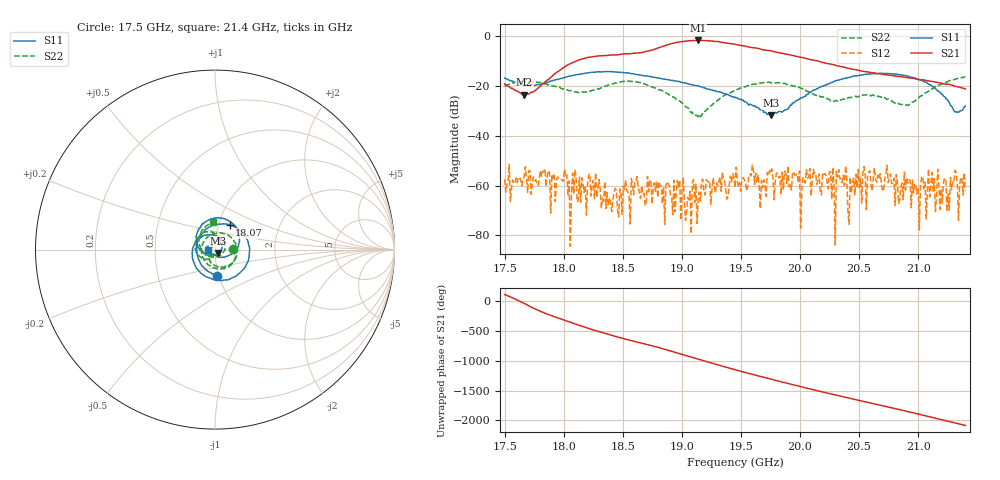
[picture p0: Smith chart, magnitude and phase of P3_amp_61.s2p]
!Created with skrf (http://scikit-rf.org).
# GHz S RI R 50.0
!freq ReS11 ImS11 ReS21 ImS21 ReS12 ImS12 ReS22 ImS22
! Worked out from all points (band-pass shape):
!   401 points, 17.5 GHz to 21.4 GHz, reference 50 ohm
!   highest |S21| = -1.70 dB at 19.14 GHz (marker M1); lowest = -23.4 dB at 17.67 GHz (marker M2)
!   |S21| within 3 dB of the highest: 18.8 GHz to 19.62 GHz (827.3 MHz wide, 4.31 % of centre)
!   lowest |S11| = -31.8 dB at 19.75 GHz (marker M3), VSWR 1.05, Z = 51.7 - j1.97 ohm
!   |S11| at or under -10 dB: start of sweep to end of sweep
!   |S22| runs from -32.4 to -16.2 dB; largest |S21 - S12| = 0.82
!   S11 on the Smith chart (normalised r, x): 17.5 GHz: 0.98, -0.29; 18.07 GHz: 1.13, +0.32; 21.4 GHz: 0.92, -0.00
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17.5  0.00922 -0.1444  -0.0351 0.1041  -0.00124 -0.000493  0.0993 0.00119
17.66575  -0.093 -0.0468  0.0521 -0.0425  0.000347 0.00146  0.1062 -0.0634
18.007  0.038 0.1425  0.1899 0.1486  0.000635 0.00204  -0.0533 -0.0662
18.0655  0.0814 0.1386  0.2872 -0.0147  0.00038 0.00049  -0.0726 -0.0365
18.15325  0.1418 0.1043  0.1652 -0.3065  0.000917 -0.0011  -0.0734 0.0191
18.3385  0.19 -0.0389  -0.407 -0.0181  0.000305 -0.000378  0.0285 0.0931
18.514  0.0978 -0.1567  0.0285 0.4421  0.000557 -0.000597  0.124 0.0012
18.8065  -0.1059 -0.0984  0.2925 -0.5168  -0.000872 -0.000837  -0.00778 -0.083
18.904  -0.1252 -0.0332  -0.2948 -0.6379  0.000329 -0.000534  -0.0322 -0.0571
19.0015  -0.1159 0.0263  -0.777 -0.1011  -0.0005 0.000587  -0.0333 -0.032
19.138  -0.0633 0.0783  -0.2274 0.7903  -0.000228 0.000473  -0.0131 -0.0202
19.294  0.000832 0.0777  0.7564 0.2143  0.00052 0.001  -0.0209 -0.0442
19.45  0.0356 0.0484  0.2191 -0.6538  0.000912 4.04e-05  -0.0655 -0.0492
19.606  0.0386 0.00882  -0.5229 -0.2664  0.000949 -0.00178  -0.1085 -0.003
19.75225  0.0173 -0.0191  -0.3379 0.3822  0.00172 -0.000424  -0.0955 0.0662
19.94725  -0.0332 -0.0321  0.3388 0.2261  4.63e-05 -0.00189  -0.0194 0.0992
20.10325  -0.0791 -0.00585  0.2474 -0.2244  0.000218 -0.0012  0.0139 0.07
20.3665  -0.0961 0.103  -0.2335 -0.0579  -0.00104 0.00124  0.0112 0.0537
20.425  -0.0799 0.1272  -0.2188 0.0474  -0.000388 0.00142  0.0166 0.056
20.7565  0.0858 0.1551  0.1558 0.0549  0.000841 0.00117  0.0522 -0.00728
20.854  0.1232 0.1139  0.1392 -0.0665  3.21e-05 0.000968  0.0227 -0.0363
21.4  -0.0397 -0.000793  0.0233 0.0839  -0.000687 -0.000394  -0.00845 0.154
